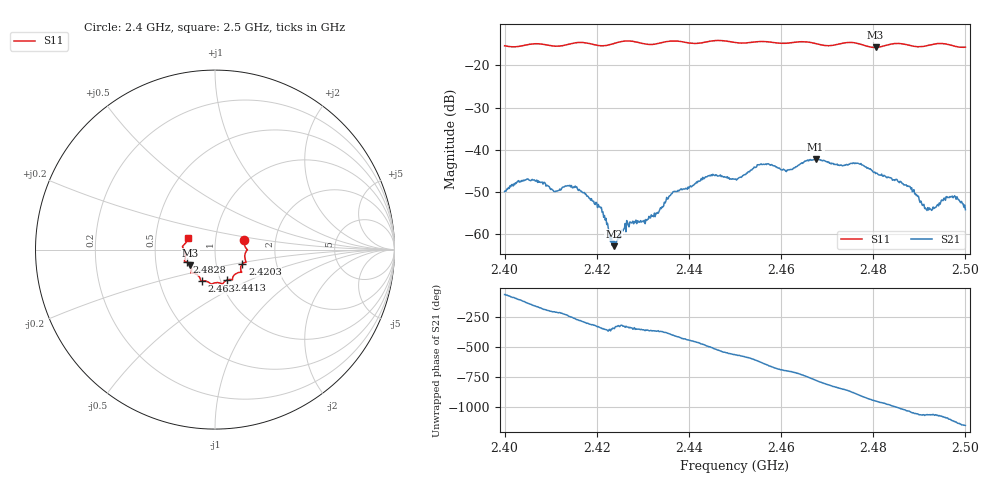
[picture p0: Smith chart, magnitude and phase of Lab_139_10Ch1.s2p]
# Hz S RI R 50
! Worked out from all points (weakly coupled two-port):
!   601 points, 2.4 GHz to 2.5 GHz, reference 50 ohm
!   highest |S21| = -42.24 dB at 2.4675 GHz (marker M1); lowest = -62.9 dB at 2.4237 GHz (marker M2)
!   lowest |S11| = -15.7 dB at 2.4805 GHz (marker M3), VSWR 1.39, Z = 37.3 - j6.65 ohm
!   |S11| at or under -10 dB: start of sweep to end of sweep
!   S12 and S22 are empty: the file has one direction only
!   S11 on the Smith chart (normalised r, x): 2.4 GHz: 1.38, +0.15; 2.4203 GHz: 1.34, -0.22; 2.4413 GHz: 1.08, -0.38; 2.463 GHz: 0.82, -0.29; 2.4828 GHz: 0.72, -0.10; 2.5 GHz: 0.73, +0.10
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2.4e9  0.1628 0.0526  0.00137 -0.00289  0 0  0 0
2.404833e9  0.1754 0.00461  -0.00309 -0.00326  0 0  0 0
2.416667e9  0.1739 -0.0698  0.000882 0.0031  0 0  0 0
2.420333e9  0.1526 -0.0799  0.00197 0.00108  0 0  0 0
2.423667e9  0.143 -0.1117  0.000701 0.000163  0 0  0 0
2.427e9  0.1484 -0.1265  0.00116 0.000378  0 0  0 0
2.433333e9  0.1003 -0.1519  0.00176 -0.000159  0 0  0 0
2.4365e9  0.0977 -0.1688  0.00231 -0.00214  0 0  0 0
2.441333e9  0.0675 -0.1693  -0.000444 -0.00396  0 0  0 0
2.444833e9  0.0441 -0.1894  -0.0041 -0.00294  0 0  0 0
2.45e9  0.0244 -0.1852  -0.00404 0.00194  0 0  0 0
2.455333e9  -0.0177 -0.1911  -0.000758 0.00661  0 0  0 0
2.463e9  -0.0724 -0.1736  0.00608 0.000657  0 0  0 0
2.466667e9  -0.0812 -0.1674  0.00543 -0.00529  0 0  0 0
2.4675e9  -0.0826 -0.1614  0.00422 -0.00648  0 0  0 0
2.4805e9  -0.1384 -0.0866  -0.00342 0.00395  0 0  0 0
2.482833e9  -0.1586 -0.07  -0.00117 0.00459  0 0  0 0
2.483333e9  -0.1625 -0.0684  -0.000851 0.00465  0 0  0 0
2.488333e9  -0.1648 -0.0437  0.00292 0.00203  0 0  0 0
2.491667e9  -0.1715 -0.00148  0.00182 0.000572  0 0  0 0
2.497167e9  -0.1694 0.0298  0.00233 -0.0016  0 0  0 0
2.5e9  -0.1518 0.0642  0.000553 -0.00187  0 0  0 0
